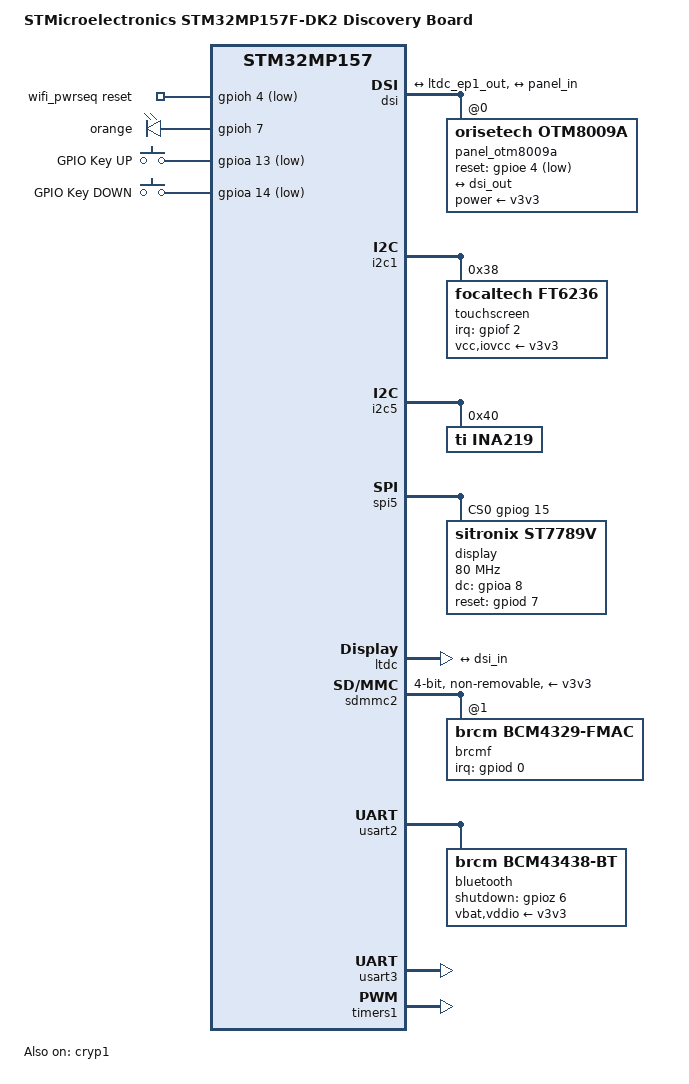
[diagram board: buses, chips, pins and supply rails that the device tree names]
// SPDX-License-Identifier: (GPL-2.0-or-later OR BSD-3-Clause)
/*
 * Copyright (C) STMicroelectronics 2022 - All Rights Reserved
 * Author: Alexandre Torgue <alexandre.torgue@foss.st.com> for STMicroelectronics.
 */

/dts-v1/;

#include "stm32mp157.dtsi"
#include "stm32mp15xf.dtsi"
#include "stm32mp15-pinctrl.dtsi"
#include "stm32mp15xxac-pinctrl.dtsi"
#include "stm32mp15xx-dkx.dtsi"
#include "stm32mp157c-dk2-scmi.dtsi"
#include <dt-bindings/rtc/rtc-stm32.h>

/ {
	model = "STMicroelectronics STM32MP157F-DK2 Discovery Board";
	compatible = "st,stm32mp157f-dk2", "st,stm32mp157";

	aliases {
		serial3 = &usart2;
	};

	chosen {
		#address-cells = <1>;
		#size-cells = <1>;
		ranges;
		stdout-path = "serial0:115200n8";

		framebuffer {
			compatible = "simple-framebuffer";
			clocks = <&rcc LTDC_PX>;
			status = "disabled";
		};
	};

	wifi_pwrseq: wifi-pwrseq {
		compatible = "mmc-pwrseq-simple";
		reset-gpios = <&gpioh 4 GPIO_ACTIVE_LOW>;
	};

	led {
		compatible = "gpio-leds";

		led-orange {
			label = "orange";
			gpios = <&gpioh 7 GPIO_ACTIVE_HIGH>;
			default-state = "off";
		};
	};

	button {
		compatible = "gpio-keys";
		autorepeat;

		key-up {
			label = "GPIO Key UP";
			linux,code = <103>;
			gpios = <&gpioa 13 GPIO_ACTIVE_LOW>;
		};

		key-down {
			label = "GPIO Key DOWN";
			linux,code = <108>;
			gpios = <&gpioa 14 GPIO_ACTIVE_LOW>;
		};
	};
};

&cryp1 {
	status = "okay";
};

&dsi {
	#address-cells = <1>;
	#size-cells = <0>;
	status = "okay";

	ports {
		#address-cells = <1>;
		#size-cells = <0>;

		port@0 {
			reg = <0>;
			dsi_in: endpoint {
				remote-endpoint = <&ltdc_ep1_out>;
			};
		};

		port@1 {
			reg = <1>;
			dsi_out: endpoint {
				remote-endpoint = <&panel_in>;
			};
		};
	};

	panel_otm8009a: panel-otm8009a@0 {
		compatible = "orisetech,otm8009a";
		reg = <0>;
		reset-gpios = <&gpioe 4 GPIO_ACTIVE_LOW>;
		power-supply = <&v3v3>;
		status = "okay";

		port {
			panel_in: endpoint {
				remote-endpoint = <&dsi_out>;
			};
		};
	};
};

&i2c1 {
	touchscreen@38 {
		compatible = "focaltech,ft6236";
		reg = <0x38>;
		interrupts = <2 2>;
		interrupt-parent = <&gpiof>;
		interrupt-controller;
		touchscreen-size-x = <480>;
		touchscreen-size-y = <800>;
		vcc-supply = <&v3v3>;
		iovcc-supply = <&v3v3>;
		panel = <&panel_otm8009a>;
		status = "okay";
	};
};

&i2c5 {
	status = "okay";

	ina219@40 {
		compatible = "ti,ina219";
		reg = <0x40>;
		shunt-resistor = <100000>; /* = 100 mOhm */
	};
};

&spi5 {
	cs-gpios = <&gpiog 15 GPIO_ACTIVE_HIGH>;
	status = "okay";

	spidev@0{
        compatible = "rohm,dh2228fv";
        reg = <0>;
        spi-max-frequency = <80000000>;
		status = "disabled";
    };

	display@0{
		compatible = "sitronix,st7789v";
		reg = <0>;
		spi-max-frequency = <80000000>;
		dc-gpios = <&gpioa 8 GPIO_ACTIVE_HIGH>;
		reset-gpios = <&gpiod 7 GPIO_ACTIVE_HIGH>;
		rotation = <0>;
		status = "okay";
	};
};

&ltdc {
	status = "okay";

	port {
		#address-cells = <1>;
		#size-cells = <0>;

		ltdc_ep1_out: endpoint@1 {
			reg = <1>;
			remote-endpoint = <&dsi_in>;
		};
	};
};

&rtc {
	st,lsco = <RTC_OUT2_RMP>;
	pinctrl-0 = <&rtc_out2_rmp_pins_a>;
	pinctrl-names = "default";
};

/* Wifi */
&sdmmc2 {
	pinctrl-names = "default", "opendrain", "sleep";
	pinctrl-0 = <&sdmmc2_b4_pins_a>;
	pinctrl-1 = <&sdmmc2_b4_od_pins_a>;
	pinctrl-2 = <&sdmmc2_b4_sleep_pins_a>;
	non-removable;
	st,neg-edge;
	bus-width = <4>;
	vmmc-supply = <&v3v3>;
	mmc-pwrseq = <&wifi_pwrseq>;
	#address-cells = <1>;
	#size-cells = <0>;
	status = "okay";

	brcmf: bcrmf@1 {
		reg = <1>;
		compatible = "brcm,bcm4329-fmac";
		interrupt-parent = <&gpiod>;
		interrupts = <0 IRQ_TYPE_LEVEL_HIGH>; /* WL_HOST_WAKE */
		interrupt-names = "host-wake";
	};
};

/* Bluetooth */
&usart2 {
	pinctrl-names = "default", "sleep", "idle";
	pinctrl-0 = <&usart2_pins_c>;
	pinctrl-1 = <&usart2_sleep_pins_c>;
	pinctrl-2 = <&usart2_idle_pins_c>;
	uart-has-rtscts;
	status = "okay";

	bluetooth {
		shutdown-gpios = <&gpioz 6 GPIO_ACTIVE_HIGH>;
		compatible = "brcm,bcm43438-bt";
		max-speed = <3000000>;
		vbat-supply = <&v3v3>;
		vddio-supply = <&v3v3>;
	};
};

&usart3 {
	status = "okay";
};

&pwm1_pins_a {
	pins {
		pinmux = <STM32_PINMUX('E', 9, AF1)>, /* TIM1_CH1 */
				<STM32_PINMUX('E', 11, AF1)>, /* TIM1_CH2 */
				<STM32_PINMUX('E', 13, AF1)>, /* TIM1_CH3 */
				<STM32_PINMUX('E', 14, AF1)>; /* TIM1_CH4 */
	};
};

&pwm1_sleep_pins_a {
	pins {
		pinmux = <STM32_PINMUX('E', 9, ANALOG)>, /* TIM1_CH1 */
				<STM32_PINMUX('E', 11, ANALOG)>, /* TIM1_CH2 */
				<STM32_PINMUX('E', 13, ANALOG)>, /* TIM1_CH2 */
				<STM32_PINMUX('E', 14, ANALOG)>; /* TIM1_CH4 */
	};
};

&timers1 {
	/* spare dmas for other usage */
	/delete-property/dmas;
	/delete-property/dma-names;
	status = "okay";

	pwm {
		pinctrl-0 = <&pwm1_pins_a>;
		pinctrl-1 = <&pwm1_sleep_pins_a>;
		pinctrl-names = "default", "sleep";
		status = "okay";
	};
	
	timer@0 {
		status = "okay";
	};
};
